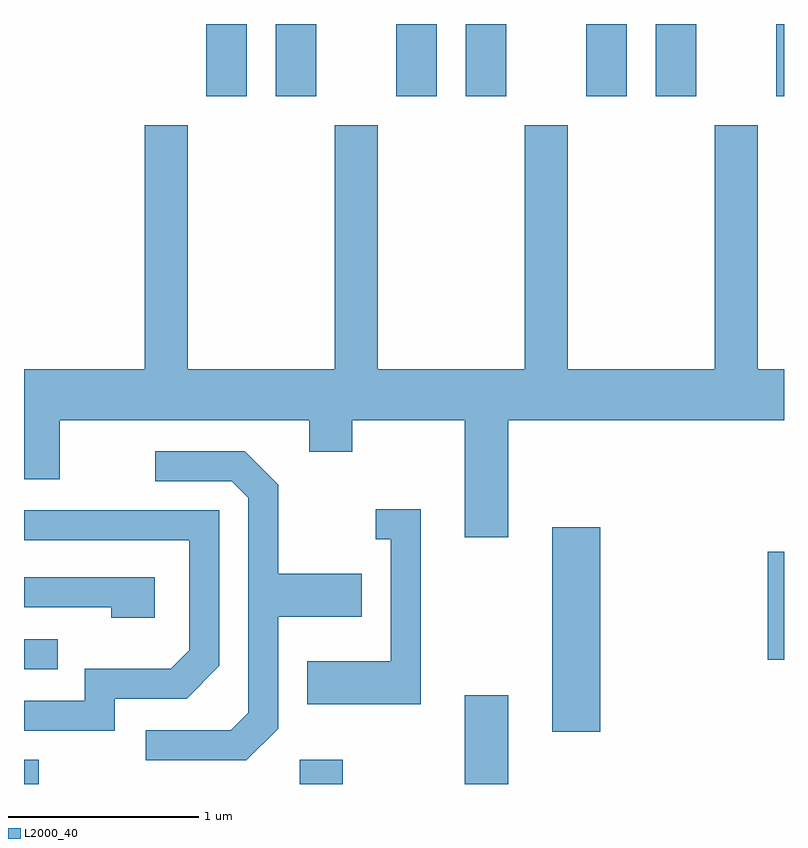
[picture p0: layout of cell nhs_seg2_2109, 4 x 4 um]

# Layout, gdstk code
import gdstk
lib = gdstk.Library(unit=1e-6, precision=1e-09)
def R(c, l, rs):  # rectangles x0, y0, x1, y1
    for r in rs: c.add(gdstk.rectangle(r[:2], r[2:], *l))
def P(c, l, *ps):  # polygons
    for p in ps: c.add(gdstk.Polygon(p, *l))
L2000_40 = (2000, 40)

nhs_seg2_2109 = lib.new_cell('nhs_seg2_2109')
R(nhs_seg2_2109, L2000_40, [(247.611,979.802,247.689,979.929), (249.061,979.802,249.289,979.929), (249.931,979.802,250.159,980.269), (250.391,980.076,250.644,981.154), (247.611,980.406,247.788,980.564), (251.526,980.456,251.611,981.024), (248.571,983.421,248.784,983.802), (248.936,983.421,249.149,983.802), (249.571,983.421,249.784,983.802), (249.936,983.421,250.149,983.802), (250.571,983.421,250.784,983.802), (250.936,983.421,251.149,983.802), (251.571,983.421,251.611,983.802)])
P(nhs_seg2_2109, L2000_40, [(248.474,983.269),(248.246,983.269),(248.246,981.984),(247.611,981.984),(247.611,981.406),(247.799,981.406),(247.799,981.716),(249.111,981.716),(249.111,981.551),(249.339,981.551),(249.339,981.716),(249.931,981.716),(249.931,981.101),(250.159,981.101),(250.159,981.716),(251.611,981.716),(251.611,981.984),(251.474,981.984),(251.474,983.269),(251.246,983.269),(251.246,981.984),(250.474,981.984),(250.474,983.269),(250.246,983.269),(250.246,981.984),(249.474,981.984),(249.474,983.269),(249.246,983.269),(249.246,981.984),(248.474,981.984)],
  [(248.949,980.094),(248.949,980.681),(249.389,980.681),(249.389,980.909),(248.949,980.909),(248.949,981.377),(248.772,981.554),(248.303,981.554),(248.303,981.396),(248.704,981.396),(248.791,981.309),(248.791,980.177),(248.699,980.084),(248.253,980.084),(248.253,979.926),(248.782,979.926)],
  [(249.699,981.249),(249.463,981.249),(249.463,981.091),(249.541,981.091),(249.541,980.449),(249.101,980.449),(249.101,980.221),(249.699,980.221)],
  [(248.089,980.251),(248.467,980.251),(248.639,980.424),(248.639,981.244),(247.611,981.244),(247.611,981.086),(248.481,981.086),(248.481,980.507),(248.384,980.409),(247.931,980.409),(247.931,980.239),(247.611,980.239),(247.611,980.081),(248.089,980.081)],
  [(248.299,980.889),(247.611,980.889),(247.611,980.731),(248.071,980.731),(248.071,980.676),(248.299,980.676)])

lib.write_gds('nhs_seg2_2109.gds')
